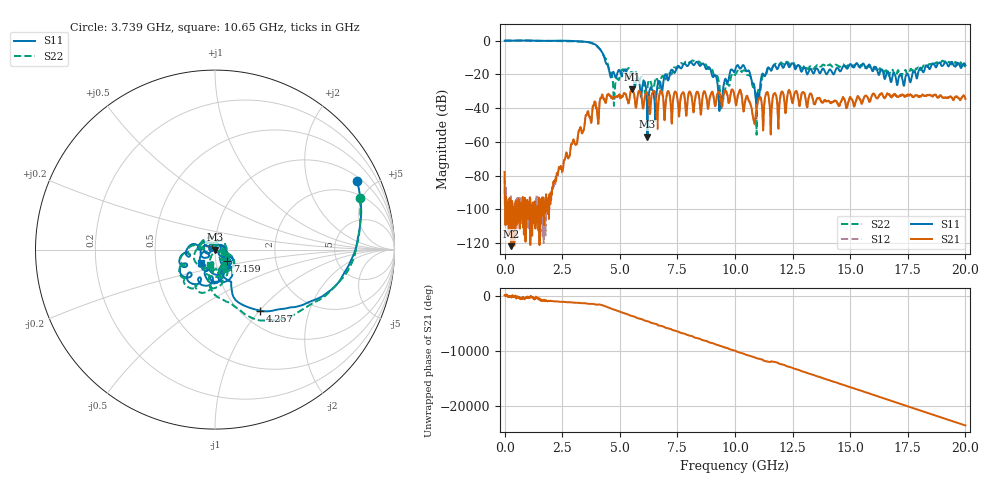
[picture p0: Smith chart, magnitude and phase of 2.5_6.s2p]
#  HZ  S  RI  R  50.00
! Rohde & Schwarz Vector Network Analyzer
! Rohde-Schwarz,ZNB20-2Port,1311601062102128,3.60
! Created: UTC 4/29/2024, 2:52:37 PM
! freq[Hz]  re:S11  im:S11  re:S21  im:S21  re:S12  im:S12  re:S22  im:S22
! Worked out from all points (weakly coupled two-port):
!   2007 points, 100 kHz to 20 GHz, reference 50 ohm
!   highest |S21| = -28.94 dB at 5.543 GHz (marker M1); lowest = -121.8 dB at 299.2 MHz (marker M2)
!   lowest |S11| = -56.9 dB at 6.201 GHz (marker M3), VSWR 1.00, Z = 49.9 - j0.05 ohm
!   |S11| at or under -10 dB: 4.329 GHz to end of sweep
!   |S22| runs from -55.8 to 0.1 dB; largest |S21 - S12| = 0.0021
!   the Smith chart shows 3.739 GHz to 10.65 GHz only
!   S11 on the Smith chart (normalised r, x): 3.739 GHz: 1.21, +4.03; 4.257 GHz: 1.22, -1.01; 7.159 GHz: 1.14, -0.14; 10.65 GHz: 0.85, -0.13
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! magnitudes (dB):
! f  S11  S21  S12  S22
! 100 kHz  0.0  -77.8  -80.8  0.1
! 299.2 MHz  0.0  -121.8  -98.0  0.0
! 2.223 GHz  -0.1  -80.7  -82.7  -0.3
! 3.34 GHz  -0.6  -54.3  -54.0  -0.6
! 3.739 GHz  -1.1  -47.4  -47.2  -1.3
! 4.257 GHz  -7.5  -33.0  -32.6  -7.6
! 4.776 GHz  -20.2  -33.4  -33.4  -30.6
! 5.543 GHz  -19.8  -28.9  -29.0  -20.1
! 6.201 GHz  -56.9  -32.4  -32.4  -27.4
! 6.67 GHz  -24.5  -37.8  -37.9  -25.7
! 7.159 GHz  -20.8  -32.0  -32.0  -19.2
! 8.614 GHz  -13.6  -31.8  -31.7  -14.3
! 9.153 GHz  -20.6  -38.4  -38.4  -21.8
! 9.372 GHz  -35.8  -33.7  -33.7  -33.6
! 10 GHz  -17.8  -34.5  -34.5  -20.4
! 10.65 GHz  -19.4  -37.0  -37.0  -20.9
! 10.83 GHz  -26.1  -48.1  -48.2  -27.8
! 10.97 GHz  -32.0  -37.7  -37.8  -33.7
! 11.71 GHz  -14.5  -31.5  -31.5  -14.0
! 13.34 GHz  -18.0  -32.6  -32.7  -15.3
! 16.67 GHz  -19.1  -31.8  -31.8  -20.5
! 20 GHz  -14.6  -34.6  -34.5  -14.3
